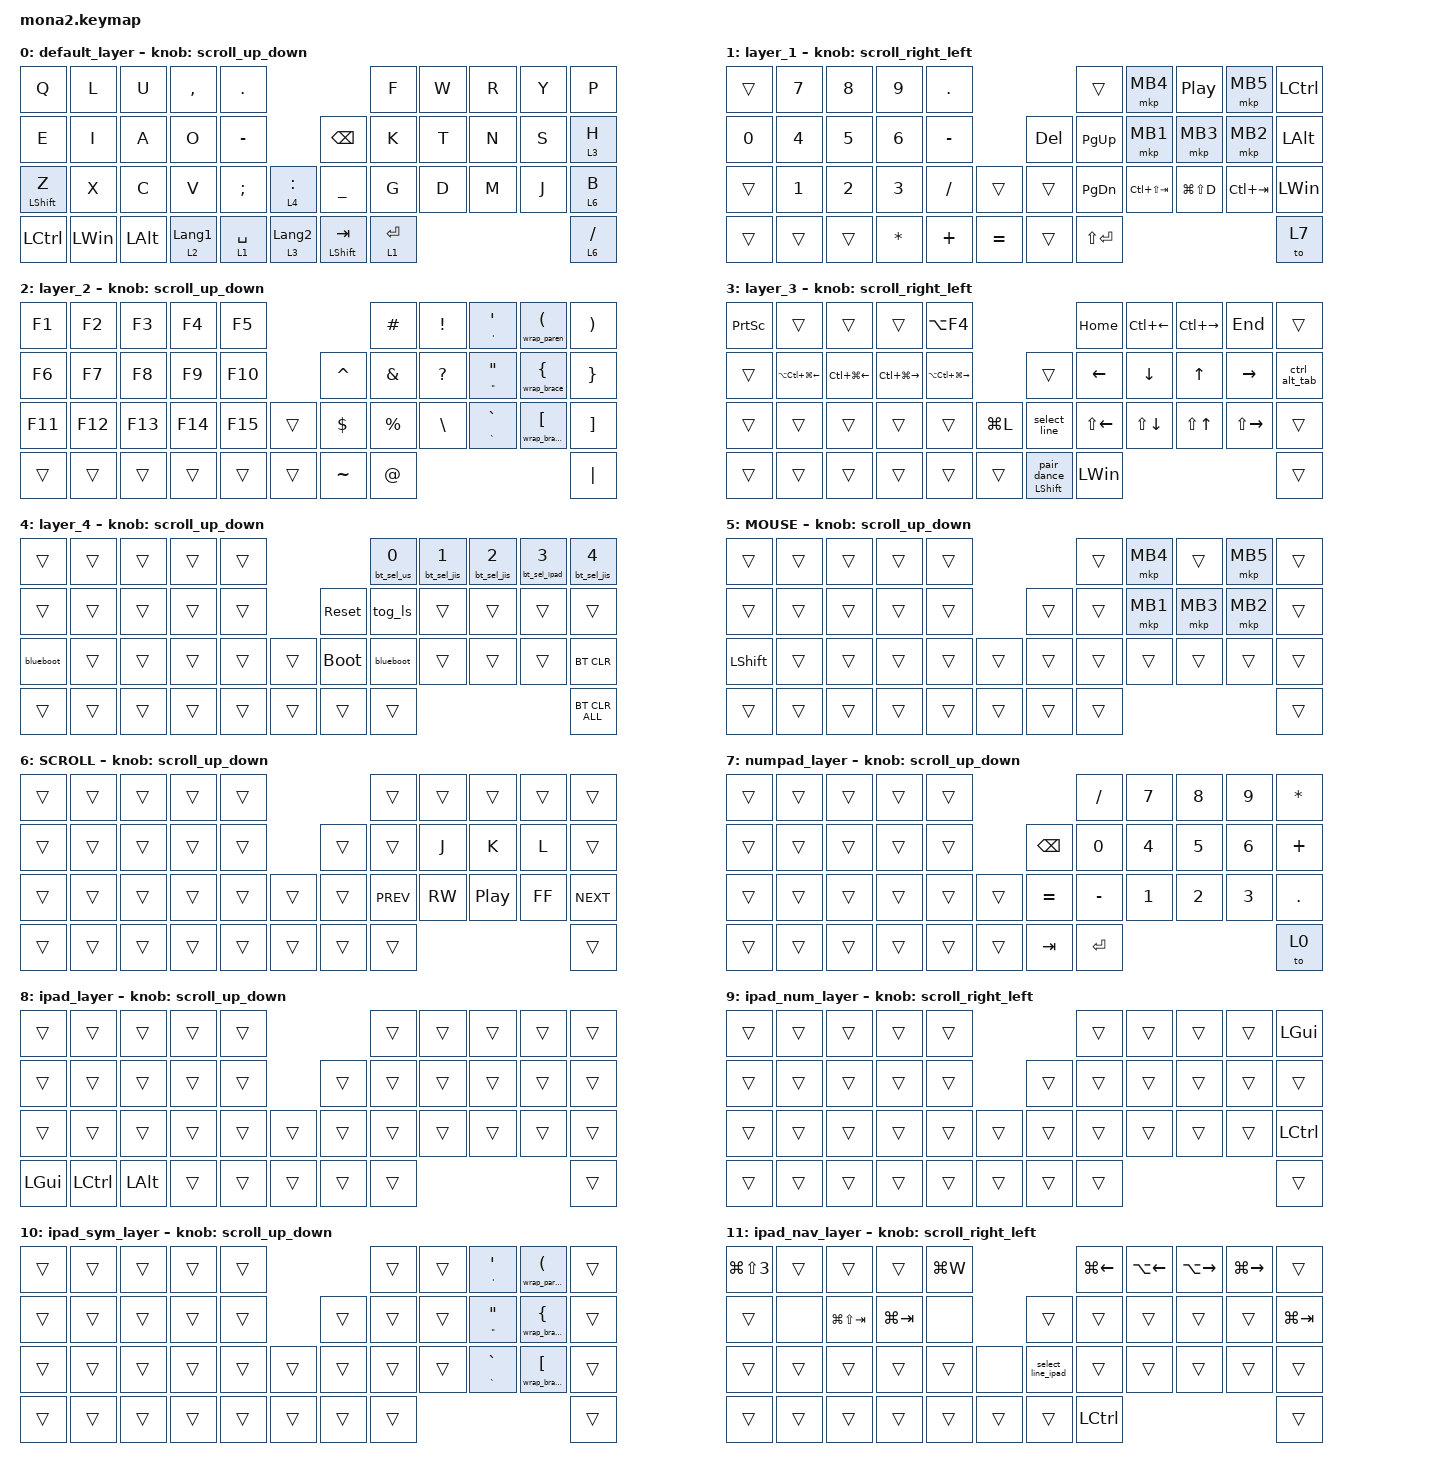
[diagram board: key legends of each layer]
#include <input/processors.dtsi>
#include <dt-bindings/zmk/input_transform.h>
#include <zephyr/dt-bindings/input/input-event-codes.h>
#include <layout_shift.dtsi>
#include <behaviors.dtsi>
#include <behaviors/blueboot.dtsi>    // &blueboot: BLE DFU(無線書き換え)へ再起動
#include <dt-bindings/zmk/bt.h>
#include <dt-bindings/zmk/keys.h>
#include <dt-bindings/zmk/pointing.h>

#define ZMK_POINTING_DEFAULT_SCRL_VAL 100
#define MOUSE 5
#define SCROLL 6
// iPad 用。IPAD は BT 3 に出力しているあいだ src/ipad_mode.c が自動で有効にする。
// IPAD_NUM / IPAD_SYM / IPAD_NAV は IPAD と layer_1 / 2 / 3 が重なったときに出る（conditional_layers）。
#define IPAD 8
#define IPAD_NUM 9
#define IPAD_SYM 10
#define IPAD_NAV 11
#define IPAD_BT_PROFILE 3

&mt {
    flavor = "balanced";
    tapping-term-ms = <150>;
    quick-tap-ms = <0>;
};

&lt {
    quick-tap-ms = <300>;
    flavor = "balanced";
};

&mkp_input_listener { input-processors = <&zip_temp_layer 5 10000>; };

/ {
    ipad_mode {
        compatible = "zmk,ipad-mode";
        profile = <IPAD_BT_PROFILE>;
        layer = <IPAD>;
    };

    conditional_layers {
        compatible = "zmk,conditional-layers";

        ipad_num {
            if-layers = <1 IPAD>;
            then-layer = <IPAD_NUM>;
        };

        ipad_sym {
            if-layers = <2 IPAD>;
            then-layer = <IPAD_SYM>;
        };

        ipad_nav {
            if-layers = <3 IPAD>;
            then-layer = <IPAD_NAV>;
        };
    };

    combos {
        compatible = "zmk,combos";

        thumb_ESC {
            bindings = <&kp ESC>;
            key-positions = <39 38>;
        };

        ql_ESC {
            bindings = <&kp ESC>;
            key-positions = <0 1>;
        };

        tab {
            bindings = <&kp TAB>;
            key-positions = <11 12>;
        };

        // AML right-hand left+middle click: hold Shift + left mouse button.
        // Right-hand MOUSE layer positions: MB1=17, MB3=18.
        combo_shift_left_drag {
            timeout-ms = <50>;
            require-prior-idle-ms = <0>;
            slow-release;
            layers = <MOUSE>;
            bindings = <&shift_left_drag>;
            key-positions = <17 18>;
        };
    };

    macros {
        to_layer_0: to_layer_0 {
            compatible = "zmk,behavior-macro-one-param";
            #binding-cells = <1>;
            bindings = <&to 0 &macro_param_1to1 &kp MACRO_PLACEHOLDER>;
            label = "TO_LAYER_0";
        };

        // BT切り替え + US配列（tog_ls_off）

        bt_sel_us: bt_sel_us {
            compatible = "zmk,behavior-macro-one-param";
            #binding-cells = <1>;
            bindings = <&tog_ls_off &macro_param_1to2 &bt BT_SEL_CMD MACRO_PLACEHOLDER>;
            label = "BT_SEL_US";
        };

        // BT切り替え + JIS配列（tog_ls_on）

        bt_sel_jis: bt_sel_jis {
            compatible = "zmk,behavior-macro-one-param";
            #binding-cells = <1>;
            bindings = <&tog_ls_on &macro_param_1to2 &bt BT_SEL_CMD MACRO_PLACEHOLDER>;
            label = "BT_SEL_JIS";
        };

        // BT切り替え + JIS配列。中身は bt_sel_jis と同じ。iPad 用レイヤーは
        // src/ipad_mode.c が出力先を見て切り替える（キーマップの図で iPad と分かるよう別名にしている）。

        bt_sel_ipad: bt_sel_ipad {
            compatible = "zmk,behavior-macro-one-param";
            #binding-cells = <1>;
            bindings = <&tog_ls_on &macro_param_1to2 &bt BT_SEL_CMD MACRO_PLACEHOLDER>;
            label = "BT_SEL_IPAD";
        };

        ctrl_alt_tab: ctrl_alt_tab {
            compatible = "zmk,behavior-macro";
            #binding-cells = <0>;
            wait-ms = <30>;
            tap-ms = <10>;
            bindings =
                <&macro_press &kp LCTRL>,
                <&macro_press &kp LALT>,
                <&macro_tap &kp TAB>,
                <&macro_release &kp LALT>,
                <&macro_release &kp LCTRL>;
            label = "CTRL_ALT_TAB";
        };

        // Keep Shift and left mouse button held for drag operations.
        shift_left_drag: shift_left_drag {
            compatible = "zmk,behavior-macro";
            #binding-cells = <0>;
            wait-ms = <0>;
            bindings =
                <&macro_press &kp LEFT_SHIFT>,
                <&macro_press &mkp MB1>,
                <&macro_pause_for_release>,
                <&macro_release &mkp MB1>,
                <&macro_release &kp LEFT_SHIFT>;
            label = "SHIFT_LEFT_DRAG";
        };

        // 対になる括弧を入力し、カーソルを内側に戻す。
        // IME ON のときは括弧が未確定のまま残るので、← の前に Enter で確定させる。
        // （&ime_kp は IME ON のときだけキーを送る。src/behavior_ime_key_press.c を参照）
        paren_pair: paren_pair {
            compatible = "zmk,behavior-macro";
            #binding-cells = <0>;
            bindings = <&kp LEFT_PARENTHESIS &kp RIGHT_PARENTHESIS &ime_kp ENTER &kp LEFT>;
            label = "PAREN_PAIR";
        };

        bracket_pair: bracket_pair {
            compatible = "zmk,behavior-macro";
            #binding-cells = <0>;
            bindings = <&kp LEFT_BRACKET &kp RIGHT_BRACKET &ime_kp ENTER &kp LEFT>;
            label = "BRACKET_PAIR";
        };

        brace_pair: brace_pair {
            compatible = "zmk,behavior-macro";
            #binding-cells = <0>;
            bindings = <&kp LEFT_BRACE &kp RIGHT_BRACE &ime_kp ENTER &kp LEFT>;
            label = "BRACE_PAIR";
        };

        // 選択中の文字列を引数の記号で囲む: Ctrl+X → 記号 → Ctrl+V → 記号
        // IME ON のときは記号が未確定のまま残るので、それぞれ Enter で確定させる。
        // 注意: クリップボードは選択文字列で上書きされる。
        //       VS Code などは未選択で Ctrl+X すると行全体を切り取る。
        wrap_with: wrap_with {
            compatible = "zmk,behavior-macro-one-param";
            #binding-cells = <1>;
            wait-ms = <30>;
            tap-ms = <10>;
            bindings =
                <&kp LC(X)>,
                <&macro_param_1to1 &kp MACRO_PLACEHOLDER>,
                <&ime_kp ENTER>,
                <&kp LC(V)>,
                <&macro_param_1to1 &kp MACRO_PLACEHOLDER>,
                <&ime_kp ENTER>;
            label = "WRAP_WITH";
        };

        // 括弧は開きと閉じが違うので、種類ごとに別のマクロにする（中身は wrap_with と同じ流れ）。
        // hold-tap は長押し側に引数を 1 つしか渡せないので、2 引数マクロにはできない。
        wrap_paren: wrap_paren {
            compatible = "zmk,behavior-macro";
            #binding-cells = <0>;
            wait-ms = <30>;
            tap-ms = <10>;
            bindings =
                <&kp LC(X)>,
                <&kp LEFT_PARENTHESIS>,
                <&ime_kp ENTER>,
                <&kp LC(V)>,
                <&kp RIGHT_PARENTHESIS>,
                <&ime_kp ENTER>;
            label = "WRAP_PAREN";
        };

        wrap_bracket: wrap_bracket {
            compatible = "zmk,behavior-macro";
            #binding-cells = <0>;
            wait-ms = <30>;
            tap-ms = <10>;
            bindings =
                <&kp LC(X)>,
                <&kp LEFT_BRACKET>,
                <&ime_kp ENTER>,
                <&kp LC(V)>,
                <&kp RIGHT_BRACKET>,
                <&ime_kp ENTER>;
            label = "WRAP_BRACKET";
        };

        wrap_brace: wrap_brace {
            compatible = "zmk,behavior-macro";
            #binding-cells = <0>;
            wait-ms = <30>;
            tap-ms = <10>;
            bindings =
                <&kp LC(X)>,
                <&kp LEFT_BRACE>,
                <&ime_kp ENTER>,
                <&kp LC(V)>,
                <&kp RIGHT_BRACE>,
                <&ime_kp ENTER>;
            label = "WRAP_BRACE";
        };

        select_line: select_line {
            compatible = "zmk,behavior-macro";
            #binding-cells = <0>;
            wait-ms = <10>;
            tap-ms = <10>;
            bindings = <&kp HOME &kp LS(END)>;
            label = "SELECT_LINE";
        };

        // ---- iPad 版 ----
        // iPad は切り取り・貼り付けが Cmd、行頭・行末が Cmd+←/→。
        // 流れは上の Windows 版と同じなので、説明はそちらを参照。

        select_line_ipad: select_line_ipad {
            compatible = "zmk,behavior-macro";
            #binding-cells = <0>;
            wait-ms = <10>;
            tap-ms = <10>;
            bindings = <&kp LG(LEFT) &kp LG(LS(RIGHT))>;
            label = "SELECT_LINE_IPAD";
        };

        wrap_with_ipad: wrap_with_ipad {
            compatible = "zmk,behavior-macro-one-param";
            #binding-cells = <1>;
            wait-ms = <30>;
            tap-ms = <10>;
            bindings =
                <&kp LG(X)>,
                <&macro_param_1to1 &kp MACRO_PLACEHOLDER>,
                <&ime_kp ENTER>,
                <&kp LG(V)>,
                <&macro_param_1to1 &kp MACRO_PLACEHOLDER>,
                <&ime_kp ENTER>;
            label = "WRAP_WITH_IPAD";
        };

        wrap_paren_ipad: wrap_paren_ipad {
            compatible = "zmk,behavior-macro";
            #binding-cells = <0>;
            wait-ms = <30>;
            tap-ms = <10>;
            bindings =
                <&kp LG(X)>,
                <&kp LEFT_PARENTHESIS>,
                <&ime_kp ENTER>,
                <&kp LG(V)>,
                <&kp RIGHT_PARENTHESIS>,
                <&ime_kp ENTER>;
            label = "WRAP_PAREN_IPAD";
        };

        wrap_bracket_ipad: wrap_bracket_ipad {
            compatible = "zmk,behavior-macro";
            #binding-cells = <0>;
            wait-ms = <30>;
            tap-ms = <10>;
            bindings =
                <&kp LG(X)>,
                <&kp LEFT_BRACKET>,
                <&ime_kp ENTER>,
                <&kp LG(V)>,
                <&kp RIGHT_BRACKET>,
                <&ime_kp ENTER>;
            label = "WRAP_BRACKET_IPAD";
        };

        wrap_brace_ipad: wrap_brace_ipad {
            compatible = "zmk,behavior-macro";
            #binding-cells = <0>;
            wait-ms = <30>;
            tap-ms = <10>;
            bindings =
                <&kp LG(X)>,
                <&kp LEFT_BRACE>,
                <&ime_kp ENTER>,
                <&kp LG(V)>,
                <&kp RIGHT_BRACE>,
                <&ime_kp ENTER>;
            label = "WRAP_BRACE_IPAD";
        };
    };

    behaviors {
        // IME ON（最後に押したのが LANGUAGE_1）のときだけキーを送る
        ime_kp: ime_key_press {
            compatible = "zmk,behavior-ime-key-press";
            #binding-cells = <1>;
        };

        // Keep the original key_press behavior for ZMK core components

        original_key_press: original_key_press {
            compatible = "zmk,behavior-key-press";
            #binding-cells = <1>;
            label = "KEY_PRESS";
        };

        // Override the existing &kp behavior to use our custom implementation

        kp: key_press {
            compatible = "zmk,behavior-layout-shift-key-press";
            #binding-cells = <1>;
            label = "LAYOUT_SHIFT_KEY_PRESS";
        };

        lt_to_layer_0: lt_to_layer_0 {
            compatible = "zmk,behavior-hold-tap";
            label = "LAYER_TAP_TO_0";
            bindings = <&mo>, <&to_layer_0>;

            #binding-cells = <2>;
            tapping-term-ms = <200>;
        };

        // Layer-tap for thumb keys (LANG1->L2, LANG2->L3, ENTER->L1).
        // hold-preferred: pressing any other key while held resolves to the layer,
        // regardless of release order (prevents e.g. "?" misfiring as LANG1 + "t", or numbers as letters, on fast rolls).
        // quick-tap disabled so tap-then-hold on the same key still gives the layer.
        lt_hp: lt_hp {
            compatible = "zmk,behavior-hold-tap";
            label = "LAYER_TAP_HOLD_PREFERRED";
            #binding-cells = <2>;
            flavor = "hold-preferred";
            tapping-term-ms = <200>;
            quick-tap-ms = <0>;
            bindings = <&mo>, <&kp>;
        };

        scroll_up_down: mouse_wheel_up_down {
            compatible = "zmk,behavior-sensor-rotate";
            #sensor-binding-cells = <0>;
            bindings = <&msc SCRL_DOWN>, <&msc SCRL_UP>;

            tap-ms = <20>;
        };

        scroll_right_left: mouse_wheel_right_left {
            compatible = "zmk,behavior-sensor-rotate";
            #sensor-binding-cells = <0>;
            bindings = <&msc SCRL_LEFT>, <&msc SCRL_RIGHT>;

            tap-ms = <20>;
        };

        // タップで記号を 1 つ、長押しで選択範囲をその記号で囲む（&wrap_with）。
        // 使い方: &wrap_hold KEY KEY（同じキーコードを 2 回書く）
        // tap-preferred なので、他のキーを押しても tapping-term を超えるまでは長押しにならない。
        wrap_hold: wrap_hold {
            compatible = "zmk,behavior-hold-tap";
            #binding-cells = <2>;
            flavor = "tap-preferred";
            tapping-term-ms = <250>;
            quick-tap-ms = <0>;
            bindings = <&wrap_with>, <&kp>;
        };

        // 開き括弧用。タップで開き括弧、長押しで選択範囲を括弧で囲む。
        // 使い方: &wrap_paren_hold 0 LEFT_PARENTHESIS（1 つ目の引数は使わない）
        wrap_paren_hold: wrap_paren_hold {
            compatible = "zmk,behavior-hold-tap";
            #binding-cells = <2>;
            flavor = "tap-preferred";
            tapping-term-ms = <250>;
            quick-tap-ms = <0>;
            bindings = <&wrap_paren>, <&kp>;
        };

        wrap_bracket_hold: wrap_bracket_hold {
            compatible = "zmk,behavior-hold-tap";
            #binding-cells = <2>;
            flavor = "tap-preferred";
            tapping-term-ms = <250>;
            quick-tap-ms = <0>;
            bindings = <&wrap_bracket>, <&kp>;
        };

        wrap_brace_hold: wrap_brace_hold {
            compatible = "zmk,behavior-hold-tap";
            #binding-cells = <2>;
            flavor = "tap-preferred";
            tapping-term-ms = <250>;
            quick-tap-ms = <0>;
            bindings = <&wrap_brace>, <&kp>;
        };

        // iPad 版（長押し側が Cmd+X / Cmd+V のマクロになるだけ）
        wrap_hold_ipad: wrap_hold_ipad {
            compatible = "zmk,behavior-hold-tap";
            #binding-cells = <2>;
            flavor = "tap-preferred";
            tapping-term-ms = <250>;
            quick-tap-ms = <0>;
            bindings = <&wrap_with_ipad>, <&kp>;
        };

        wrap_paren_hold_ipad: wrap_paren_hold_ipad {
            compatible = "zmk,behavior-hold-tap";
            #binding-cells = <2>;
            flavor = "tap-preferred";
            tapping-term-ms = <250>;
            quick-tap-ms = <0>;
            bindings = <&wrap_paren_ipad>, <&kp>;
        };

        wrap_bracket_hold_ipad: wrap_bracket_hold_ipad {
            compatible = "zmk,behavior-hold-tap";
            #binding-cells = <2>;
            flavor = "tap-preferred";
            tapping-term-ms = <250>;
            quick-tap-ms = <0>;
            bindings = <&wrap_bracket_ipad>, <&kp>;
        };

        wrap_brace_hold_ipad: wrap_brace_hold_ipad {
            compatible = "zmk,behavior-hold-tap";
            #binding-cells = <2>;
            flavor = "tap-preferred";
            tapping-term-ms = <250>;
            quick-tap-ms = <0>;
            bindings = <&wrap_brace_ipad>, <&kp>;
        };

        pair_dance: pair_dance {
            compatible = "zmk,behavior-tap-dance";
            #binding-cells = <0>;
            tapping-term-ms = <350>;
            bindings = <&paren_pair>, <&bracket_pair>, <&brace_pair>;
        };

        pair_shift: pair_shift {
            compatible = "zmk,behavior-hold-tap";
            #binding-cells = <2>;
            flavor = "hold-preferred";
            tapping-term-ms = <200>;
            bindings = <&kp>, <&pair_dance>;
        };
    };

    // &blueboot は「押した側の半分」だけが BLE DFU に入るので左右に 1 個ずつ置く。
    // 親指の同時押しで誤爆しないよう、&lt 4 COLON (pos 26) でしか入らない layer_4 に置く。
    //   layer_4 の pos 28 (右手側) -> 親機である右手を無線更新
    //   layer_4 の pos 21 (左手側) -> 左手を無線更新
    keymap {
        compatible = "zmk,keymap";

        default_layer {
            bindings = <
&kp Q             &kp L         &kp U         &kp COMMA         &kp DOT                                              &kp F        &kp W  &kp R  &kp Y  &kp P
&kp E             &kp I         &kp A         &kp O             &kp MINUS                        &kp BSPC            &kp K        &kp T  &kp N  &kp S  &lt 3 H
&mt LEFT_SHIFT Z  &kp X         &kp C         &kp V             &kp SEMI     &lt 4 COLON         &kp UNDERSCORE      &kp G        &kp D  &kp M  &kp J  &lt 6 B
&kp LCTRL         &kp LEFT_WIN  &kp LEFT_ALT  &lt_hp 2 LANGUAGE_1  &lt 1 SPACE  &lt_hp 3 LANGUAGE_2    &mt LEFT_SHIFT TAB  &lt_hp 1 ENTER                     &lt 6 SLASH
            >;

            sensor-bindings = <&scroll_up_down>;
        };

        layer_1 {
            bindings = <
&trans  &kp N7  &kp N8  &kp N9     &kp DOT                          &trans          &mkp MB4         &kp C_PLAY_PAUSE  &mkp MB5     &kp LCTRL
&kp N0  &kp N4  &kp N5  &kp N6     &kp MINUS               &kp DEL  &kp PG_UP       &mkp MB1         &mkp MB3          &mkp MB2     &kp LEFT_ALT
&trans  &kp N1  &kp N2  &kp N3     &kp FSLH   &trans       &trans   &kp PAGE_DOWN   &kp LC(LS(TAB))  &kp LG(LS(D))     &kp LC(TAB)  &kp LEFT_WIN
&trans  &trans  &trans  &kp ASTRK  &kp PLUS   &kp EQUAL    &trans   &kp LS(ENTER)                                                   &to 7
            >;

            sensor-bindings = <&scroll_right_left>;
        };

        layer_2 {
            bindings = <
&kp F1   &kp F2   &kp F3   &kp F4   &kp F5                         &kp HASH       &kp EXCLAMATION  &wrap_hold SINGLE_QUOTE SINGLE_QUOTE   &wrap_paren_hold 0 LEFT_PARENTHESIS  &kp RIGHT_PARENTHESIS
&kp F6   &kp F7   &kp F8   &kp F9   &kp F10            &kp CARET   &kp AMPERSAND  &kp QUESTION     &wrap_hold DOUBLE_QUOTES DOUBLE_QUOTES  &wrap_brace_hold 0 LEFT_BRACE        &kp RIGHT_BRACE
&kp F11  &kp F12  &kp F13  &kp F14  &kp F15  &trans    &kp DOLLAR  &kp PERCENT    &kp BACKSLASH    &wrap_hold GRAVE GRAVE          &wrap_bracket_hold 0 LEFT_BRACKET      &kp RIGHT_BRACKET
&trans   &trans   &trans   &trans   &trans   &trans    &kp TILDE   &kp AT                                                                   &kp PIPE
            >;

            sensor-bindings = <&scroll_up_down>;
        };

        layer_3 {
            bindings = <
&kp PSCRN  &trans                      &trans                  &trans                   &kp LA(F4)                                                          &kp HOME      &kp LC(LEFT)  &kp LC(RIGHT)  &kp END        &trans
&trans     &kp LA(LC(LG(LEFT_ARROW)))  &kp LC(LG(LEFT_ARROW))  &kp LC(LG(RIGHT_ARROW))  &kp LA(LC(LG(RIGHT_ARROW)))               &trans                    &kp LEFT      &kp DOWN      &kp UP         &kp RIGHT      &ctrl_alt_tab
&trans     &trans                      &trans                  &trans                   &trans                       &kp LG(L)    &select_line               &kp LS(LEFT)  &kp LS(DOWN)  &kp LS(UP)     &kp LS(RIGHT)  &trans
&trans     &trans                      &trans                  &trans                   &trans                       &trans       &pair_shift LEFT_SHIFT 0    &kp LEFT_WIN                                              &trans
            >;

            sensor-bindings = <&scroll_right_left>;
        };

        layer_4 {
            bindings = <
&trans  &trans  &trans  &trans  &trans                         &bt_sel_us 0  &bt_sel_jis 1  &bt_sel_jis 2  &bt_sel_ipad 3  &bt_sel_jis 4
&trans  &trans  &trans  &trans  &trans            &sys_reset   &tog_ls       &trans         &trans         &trans         &trans
&blueboot  &trans  &trans  &trans  &trans  &trans    &bootloader  &blueboot     &trans         &trans         &trans         &bt BT_CLR
&trans  &trans  &trans  &trans  &trans  &trans    &trans       &trans                                                     &bt BT_CLR_ALL
            >;

            sensor-bindings = <&scroll_up_down>;
        };

        MOUSE {
            bindings = <
&trans  &trans    &trans    &trans    &trans                    &trans  &mkp MB4  &trans    &mkp MB5  &trans
&trans  &trans    &trans    &trans    &trans            &trans  &trans  &mkp MB1  &mkp MB3  &mkp MB2  &trans
&kp LEFT_SHIFT  &trans    &trans    &trans    &trans  &trans    &trans  &trans  &trans    &trans    &trans    &trans
&trans  &trans    &trans    &trans    &trans  &trans    &trans  &trans                                &trans
            >;

            sensor-bindings = <&scroll_up_down>;
        };

        SCROLL {
            bindings = <
&trans  &trans  &trans  &trans  &trans                    &trans      &trans    &trans                 &trans    &trans
&trans  &trans  &trans  &trans  &trans            &trans  &trans      &kp J     &kp K  &kp L     &trans
&trans  &trans  &trans  &trans  &trans  &trans    &trans  &kp C_PREV  &kp C_RW  &kp C_PLAY_PAUSE       &kp C_FF  &kp C_NEXT
&trans  &trans  &trans  &trans  &trans  &trans    &trans  &trans                                                 &trans
            >;

            sensor-bindings = <&scroll_up_down>;
        };

        numpad_layer {
            bindings = <
&trans  &trans  &trans  &trans  &trans                         &kp FSLH    &kp N7    &kp N8  &kp N9  &kp ASTRK
&trans  &trans  &trans  &trans  &trans            &kp BSPC    &kp N0      &kp N4    &kp N5  &kp N6    &kp PLUS
&trans  &trans  &trans  &trans  &trans  &trans    &kp EQUAL   &kp MINUS   &kp N1    &kp N2  &kp N3    &kp DOT
&trans  &trans  &trans  &trans  &trans  &trans    &kp TAB     &kp ENTER                              &to 0
            >;

            sensor-bindings = <&scroll_up_down>;
        };

        // ---- iPad（BT 3 に出力しているあいだだけ有効） ----
        // 機能が Windows と同じになるよう入れ替える。▽(&trans) のキーは下のレイヤーのまま。

        // Ctrl / Win / Alt の位置を Cmd / Ctrl / Option にする（Windows の Ctrl+C の指で Cmd+C）
        ipad_layer {
            bindings = <
&trans  &trans  &trans  &trans  &trans                    &trans  &trans  &trans  &trans  &trans
&trans  &trans  &trans  &trans  &trans            &trans  &trans  &trans  &trans  &trans  &trans
&trans  &trans  &trans  &trans  &trans  &trans    &trans  &trans  &trans  &trans  &trans  &trans
&kp LGUI  &kp LCTRL  &kp LALT  &trans  &trans  &trans    &trans  &trans                  &trans
            >;

            sensor-bindings = <&scroll_up_down>;
        };

        // layer_1 の右手の Ctrl / Win を Cmd / Ctrl に
        ipad_num_layer {
            bindings = <
&trans  &trans  &trans  &trans  &trans                    &trans  &trans  &trans  &trans  &kp LGUI
&trans  &trans  &trans  &trans  &trans            &trans  &trans  &trans  &trans  &trans  &trans
&trans  &trans  &trans  &trans  &trans  &trans    &trans  &trans  &trans  &trans  &trans  &kp LCTRL
&trans  &trans  &trans  &trans  &trans  &trans    &trans  &trans                  &trans
            >;

            sensor-bindings = <&scroll_right_left>;
        };

        // layer_2 の「長押しで囲む」の切り取り・貼り付けを Cmd+X / Cmd+V に
        ipad_sym_layer {
            bindings = <
&trans  &trans  &trans  &trans  &trans                    &trans  &trans  &wrap_hold_ipad SINGLE_QUOTE SINGLE_QUOTE   &wrap_paren_hold_ipad 0 LEFT_PARENTHESIS  &trans
&trans  &trans  &trans  &trans  &trans            &trans  &trans  &trans  &wrap_hold_ipad DOUBLE_QUOTES DOUBLE_QUOTES  &wrap_brace_hold_ipad 0 LEFT_BRACE        &trans
&trans  &trans  &trans  &trans  &trans  &trans    &trans  &trans  &trans  &wrap_hold_ipad GRAVE GRAVE                  &wrap_bracket_hold_ipad 0 LEFT_BRACKET    &trans
&trans  &trans  &trans  &trans  &trans  &trans    &trans  &trans                  &trans
            >;

            sensor-bindings = <&scroll_up_down>;
        };

        // layer_3 の Windows のショートカットを iPad の同じ機能に
        //   PrtSc -> Cmd+Shift+3      Alt+F4 -> Cmd+W       Home/End -> Cmd+←/→
        //   Ctrl+←/→ -> Option+←/→    仮想デスクトップ切替 -> Cmd+(Shift+)Tab
        //   Ctrl+Alt+Tab -> Cmd+Tab   Win -> Ctrl
        //   Win+Ctrl+Alt+←/→ と Win+L(ロック) は iPad に同じ機能がないので無効（Cmd+L はアドレスバーに飛ぶ）
        ipad_nav_layer {
            bindings = <
&kp LG(LS(N3))  &trans  &trans           &trans       &kp LG(W)                   &kp LG(LEFT)  &kp LA(LEFT)  &kp LA(RIGHT)  &kp LG(RIGHT)  &trans
&trans          &none   &kp LG(LS(TAB))  &kp LG(TAB)  &none              &trans   &trans        &trans        &trans         &trans         &kp LG(TAB)
&trans          &trans  &trans           &trans       &trans  &none      &select_line_ipad      &trans        &trans         &trans         &trans  &trans
&trans          &trans  &trans           &trans       &trans  &trans     &trans   &kp LCTRL                                                 &trans
            >;

            sensor-bindings = <&scroll_right_left>;
        };
    };
};
